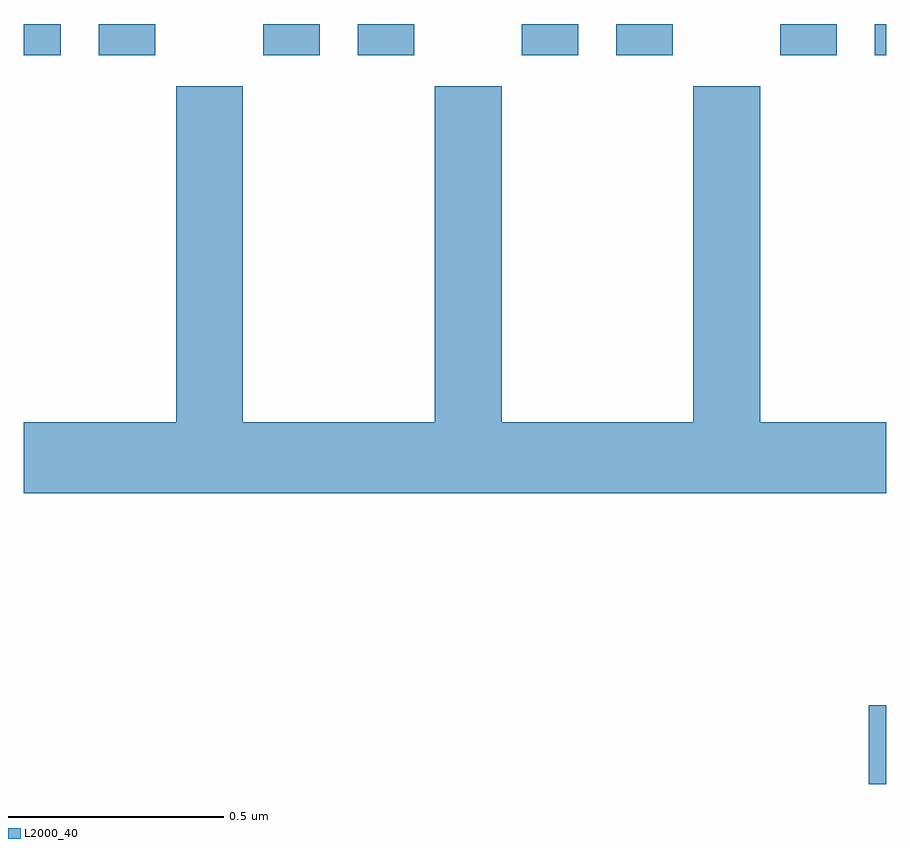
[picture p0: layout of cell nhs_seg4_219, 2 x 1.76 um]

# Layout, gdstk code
import gdstk
lib = gdstk.Library(unit=1e-6, precision=1e-09)
def R(c, l, rs):  # rectangles x0, y0, x1, y1
    for r in rs: c.add(gdstk.rectangle(r[:2], r[2:], *l))
def P(c, l, *ps):  # polygons
    for p in ps: c.add(gdstk.Polygon(p, *l))
L2000_40 = (2000, 40)

nhs_seg4_219 = lib.new_cell('nhs_seg4_219')
R(nhs_seg4_219, L2000_40, [(114.96,804.137,115,804.32), (113,805.827,113.086,805.9), (113.174,805.827,113.305,805.9), (113.555,805.827,113.686,805.9), (113.774,805.827,113.905,805.9), (114.155,805.827,114.286,805.9), (114.374,805.827,114.505,805.9), (114.755,805.827,114.886,805.9), (114.974,805.827,115,805.9)])
P(nhs_seg4_219, L2000_40, [(115,804.976),(114.708,804.976),(114.708,805.756),(114.553,805.756),(114.553,804.976),(114.108,804.976),(114.108,805.756),(113.953,805.756),(113.953,804.976),(113.508,804.976),(113.508,805.756),(113.353,805.756),(113.353,804.976),(113,804.976),(113,804.812),(115,804.812)])

lib.write_gds('nhs_seg4_219.gds')
